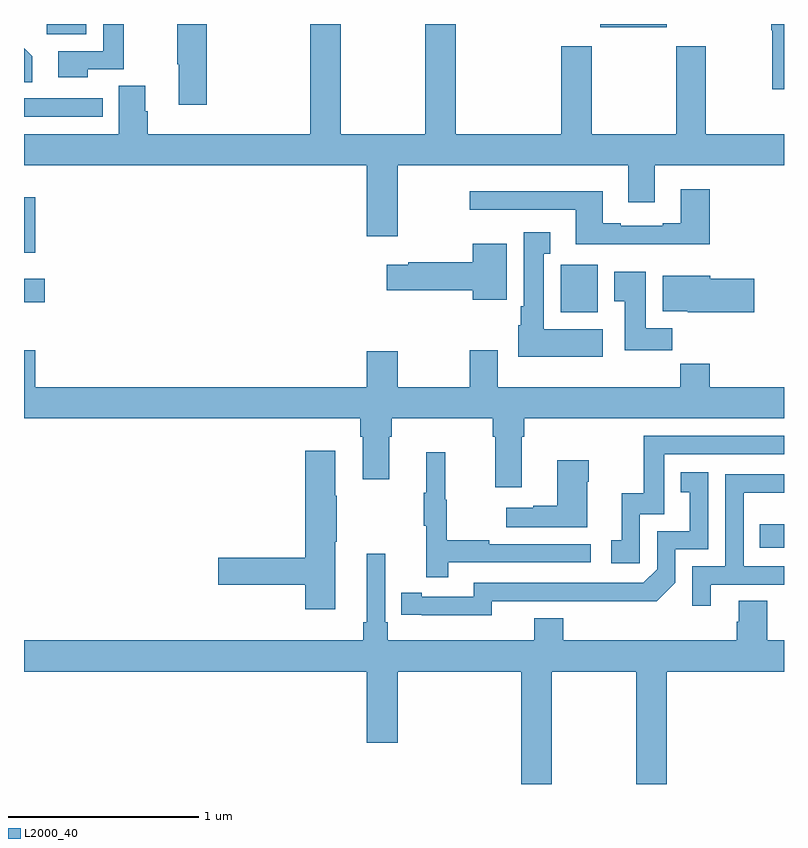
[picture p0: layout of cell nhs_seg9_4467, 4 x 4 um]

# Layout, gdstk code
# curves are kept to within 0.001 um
import gdstk
lib = gdstk.Library(unit=1e-6, precision=1e-09)
def R(c, l, rs):  # rectangles x0, y0, x1, y1
    for r in rs: c.add(gdstk.rectangle(r[:2], r[2:], *l))
def P(c, l, *ps):  # polygons
    for p in ps: c.add(gdstk.Polygon(p, *l))
L2000_40 = (2000, 40)

nhs_seg9_4467 = lib.new_cell('nhs_seg9_4467')
R(nhs_seg9_4467, L2000_40, [(370.873,1191.744,371,1191.867), (369.825,1192.982,370.021,1193.232), (367,1193.036,367.108,1193.158), (367,1193.297,367.058,1193.587), (367,1194.012,367.414,1194.108), (367.121,1194.446,367.327,1194.5), (370.034,1194.482,370.384,1194.5)])
P(nhs_seg9_4467, L2000_40, [(367.335,1194.261),(367.525,1194.261),(367.525,1194.5),(367.416,1194.5),(367.416,1194.357),(367.179,1194.357),(367.179,1194.221),(367.335,1194.221)],
  [(368.968,1193.756),(370.181,1193.756),(370.181,1193.562),(370.321,1193.562),(370.321,1193.756),(371,1193.756),(371,1193.92),(370.587,1193.92),(370.587,1194.382),(370.432,1194.382),(370.432,1193.92),(369.987,1193.92),(369.987,1194.382),(369.827,1194.382),(369.827,1193.92),(369.272,1193.92),(369.272,1194.5),(369.112,1194.5),(369.112,1193.92),(368.667,1193.92),(368.667,1194.5),(368.507,1194.5),(368.507,1193.92),(367.652,1193.92),(367.652,1194.042),(367.639,1194.042),(367.639,1194.176),(367.499,1194.176),(367.499,1193.92),(367,1193.92),(367,1193.756),(368.804,1193.756),(368.804,1193.382),(368.968,1193.382)],
  [(367.961,1194.5),(367.807,1194.5),(367.807,1194.287),(367.814,1194.287),(367.814,1194.075),(367.961,1194.075)],
  [(371,1194.5),(370.934,1194.5),(370.934,1194.468),(370.939,1194.468),(370.939,1194.156),(371,1194.156)],
  [(367.043,1194.329),(367,1194.372),(367,1194.193),(367.043,1194.193)],
  [(370.61,1193.629),(370.457,1193.629),(370.457,1193.452),(370.361,1193.452),(370.361,1193.439),(370.141,1193.439),(370.141,1193.452),(370.045,1193.452),(370.045,1193.62),(369.345,1193.62),(369.345,1193.523),(369.905,1193.523),(369.905,1193.342),(370.61,1193.342)],
  [(370.045,1192.894),(369.736,1192.894),(369.736,1193.291),(369.769,1193.291),(369.769,1193.404),(369.629,1193.404),(369.629,1193.014),(369.614,1193.014),(369.614,1192.914),(369.602,1192.914),(369.602,1192.748),(370.045,1192.748)],
  [(369.541,1193.344),(369.362,1193.344),(369.362,1193.246),(369.022,1193.246),(369.022,1193.233),(368.91,1193.233),(368.91,1193.099),(369.362,1193.099),(369.362,1193.048),(369.541,1193.048)],
  [(370.412,1192.9),(370.273,1192.9),(370.273,1193.197),(370.106,1193.197),(370.106,1193.041),(370.163,1193.041),(370.163,1192.782),(370.412,1192.782)],
  [(370.843,1193.159),(370.612,1193.159),(370.612,1193.176),(370.361,1193.176),(370.361,1192.988),(370.494,1192.988),(370.494,1192.982),(370.843,1192.982)],
  [(369.619,1192.328),(369.632,1192.328),(369.632,1192.424),(371,1192.424),(371,1192.588),(370.61,1192.588),(370.61,1192.712),(370.453,1192.712),(370.453,1192.588),(369.493,1192.588),(369.493,1192.783),(369.346,1192.783),(369.346,1192.588),(368.968,1192.588),(368.968,1192.777),(368.804,1192.777),(368.804,1192.588),(367.058,1192.588),(367.058,1192.783),(367,1192.783),(367,1192.424),(368.771,1192.424),(368.771,1192.328),(368.783,1192.328),(368.783,1192.104),(368.923,1192.104),(368.923,1192.328),(368.936,1192.328),(368.936,1192.424),(369.467,1192.424),(369.467,1192.328),(369.479,1192.328),(369.479,1192.062),(369.619,1192.062)],
  [(370.242,1191.921),(370.371,1191.921),(370.371,1192.236),(371,1192.236),(371,1192.332),(370.263,1192.332),(370.263,1192.03),(370.145,1192.03),(370.145,1191.783),(370.092,1191.783),(370.092,1191.663),(370.242,1191.663)],
  [(368.638,1191.775),(368.646,1191.775),(368.646,1192.016),(368.638,1192.016),(368.638,1192.255),(368.48,1192.255),(368.48,1191.692),(368.022,1191.692),(368.022,1191.55),(368.48,1191.55),(368.48,1191.42),(368.638,1191.42)],
  [(369.233,1191.666),(369.982,1191.666),(369.982,1191.762),(369.449,1191.762),(369.449,1191.782),(369.226,1191.782),(369.226,1191.996),(369.218,1191.996),(369.218,1192.246),(369.116,1192.246),(369.116,1192.033),(369.105,1192.033),(369.105,1191.859),(369.116,1191.859),(369.116,1191.588),(369.233,1191.588)],
  [(369.964,1192.091),(369.972,1192.091),(369.972,1192.204),(369.806,1192.204),(369.806,1191.965),(369.68,1191.965),(369.68,1191.955),(369.537,1191.955),(369.537,1191.851),(369.964,1191.851)],
  [(369.462,1191.462),(370.33,1191.461),(370.428,1191.558),(370.428,1191.735),(370.602,1191.735),(370.602,1192.141),(370.456,1192.141),(370.456,1192.035),(370.505,1192.035),(370.505,1191.831),(370.332,1191.831),(370.332,1191.63),(370.26,1191.558),(369.366,1191.558),(369.366,1191.486),(369.094,1191.486),(369.094,1191.506),(368.986,1191.506),(368.986,1191.39),(369.462,1191.389)],
  [(370.615,1191.549),(371,1191.549),(371,1191.645),(370.788,1191.645),(370.788,1192.034),(371,1192.034),(371,1192.131),(370.692,1192.131),(370.692,1191.645),(370.518,1191.645),(370.518,1191.438),(370.615,1191.438)],
  [(369.839,1191.373),(369.686,1191.373),(369.686,1191.256),(368.915,1191.256),(368.915,1191.352),(368.901,1191.352),(368.901,1191.712),(368.804,1191.712),(368.804,1191.352),(368.785,1191.352),(368.785,1191.256),(367,1191.256),(367,1191.092),(368.804,1191.092),(368.804,1190.718),(368.968,1190.718),(368.968,1191.092),(369.617,1191.092),(369.617,1190.5),(369.777,1190.5),(369.777,1191.092),(370.222,1191.092),(370.222,1190.5),(370.382,1190.5),(370.382,1191.092),(371,1191.092),(371,1191.256),(370.911,1191.256),(370.911,1191.464),(370.763,1191.464),(370.763,1191.354),(370.751,1191.354),(370.751,1191.256),(369.839,1191.256)])

lib.write_gds('nhs_seg9_4467.gds')
